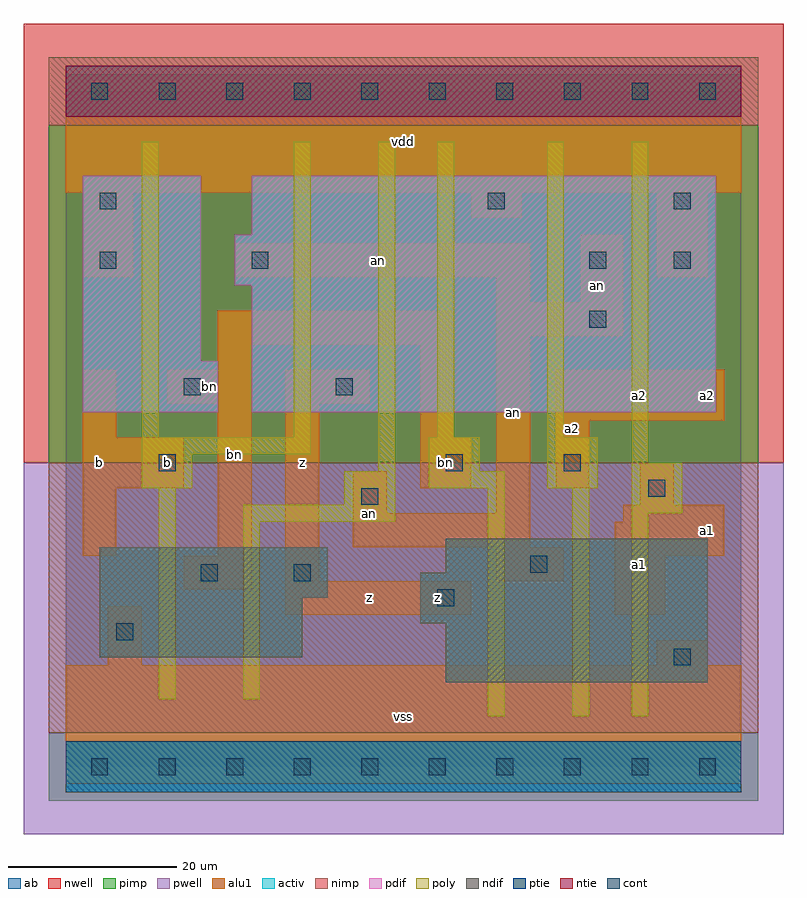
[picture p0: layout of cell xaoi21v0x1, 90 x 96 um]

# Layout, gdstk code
import gdstk
lib = gdstk.Library(unit=1e-6, precision=1e-09)
def R(c, l, rs):  # rectangles x0, y0, x1, y1
    for r in rs: c.add(gdstk.rectangle(r[:2], r[2:], *l))
def A(c, l, x, y, w, h, nx, ny, dx, dy):  # array of equal rectangles
    R(c, l, [(x+i*dx, y+j*dy, x+i*dx+w, y+j*dy+h) for i in range(nx) for j in range(ny)])
ndif = (3, 0)
pdif = (4, 0)
ntie = (5, 0)
ptie = (6, 0)
cont = (25, 0)
pwell = (41, 0)
nwell = (42, 0)
activ = (43, 0)
pimp = (44, 0)
nimp = (45, 0)
poly = (46, 0)
alu1 = (49, 0)
ab = (63, 0)

xaoi21v0x1 = lib.new_cell('xaoi21v0x1')
R(xaoi21v0x1, ndif, [(45,10,76,17), (4,13,28,20), (42,17,76,23), (4,20,31,26), (45,23,76,27)])
R(xaoi21v0x1, pdif, [(2,42,18,48), (22,42,77,57), (2,48,16,70), (20,57,77,63), (22,63,77,70)])
R(xaoi21v0x1, ntie, [(0,77,80,83)])
R(xaoi21v0x1, ptie, [(0,-3,80,3)])
A(xaoi21v0x1, cont, 3, -1, 2, 2, 10, 2, 8, 80)
R(xaoi21v0x1, cont, [(72,12,74,14), (6,15,8,17), (44,19,46,21), (16,22,18,24), (27,22,29,24), (55,23,57,25), (35,31,37,33), (69,32,71,34), (11,35,13,37), (45,35,47,37), (59,35,61,37), (14,44,16,46), (32,44,34,46), (62,52,64,54), (4,59,6,61), (22,59,24,61), (62,59,64,61), (72,59,74,61), (4,66,6,68), (50,66,52,68), (72,66,74,68)])
R(xaoi21v0x1, pwell, [(-5,-8,85,36)])
R(xaoi21v0x1, nwell, [(-5,36,85,88)])
R(xaoi21v0x1, activ, [(0,-3,80,3), (45,10,76,17), (4,13,28,20), (42,17,76,23), (4,20,31,26), (45,23,76,27), (2,42,18,48), (22,42,77,57), (2,48,16,70), (20,57,77,63), (22,63,77,70), (0,77,80,83)])
R(xaoi21v0x1, pimp, [(-2,-4,82,4), (-2,36,82,76)])
R(xaoi21v0x1, nimp, [(-2,4,82,36), (-2,76,82,84)])
R(xaoi21v0x1, poly, [(50,6,52,33), (60,6,62,33), (67,6,69,30), (11,8,13,33), (21,8,23,29), (21,29,39,31), (67,30,73,36), (33,31,39,35), (9,33,15,37), (43,33,52,35), (57,33,63,39), (37,35,39,74), (43,35,49,39), (67,36,69,74), (9,37,29,39), (9,39,11,74), (27,39,29,74), (44,39,46,74), (57,39,59,74)])
R(xaoi21v0x1, alu1, [(0,-2,80,12), (5,12,9,19), (70,12,76,15), (26,18,48,22), (65,18,71,25), (14,21,22,25), (26,22,30,43), (51,22,59,26), (2,25,6,33), (18,25,22,43), (65,25,78,29), (34,26,55,30), (66,29,78,31), (34,30,38,35), (51,30,55,51), (68,31,72,36), (2,33,14,39), (42,33,48,39), (58,33,62,41), (2,39,6,47), (42,39,46,50), (58,41,78,47), (12,43,22,47), (26,43,36,47), (18,47,22,50), (18,50,46,54), (51,51,66,55), (51,55,55,58), (61,55,66,63), (2,58,8,68), (20,58,55,62), (70,58,76,68), (48,65,54,68), (0,68,80,82)])
R(xaoi21v0x1, ab, [(0,0,80,80)])
xaoi21v0x1.add(gdstk.Label('an', (36,30), layer=49, texttype=0))
xaoi21v0x1.add(gdstk.Label('bn', (20,37), layer=49, texttype=0))
xaoi21v0x1.add(gdstk.Label('bn', (17,45), layer=49, texttype=0))
xaoi21v0x1.add(gdstk.Label('bn', (45,36), layer=49, texttype=0))
xaoi21v0x1.add(gdstk.Label('an', (37,60), layer=49, texttype=0))
xaoi21v0x1.add(gdstk.Label('an', (53,42), layer=49, texttype=0))
xaoi21v0x1.add(gdstk.Label('an', (63,57), layer=49, texttype=0))
xaoi21v0x1.add(gdstk.Label('b', (4,36), layer=49, texttype=0))
xaoi21v0x1.add(gdstk.Label('b', (12,36), layer=49, texttype=0))
xaoi21v0x1.add(gdstk.Label('z', (36,20), layer=49, texttype=0))
xaoi21v0x1.add(gdstk.Label('z', (28,36), layer=49, texttype=0))
xaoi21v0x1.add(gdstk.Label('vss', (40,6), layer=49, texttype=0))
xaoi21v0x1.add(gdstk.Label('z', (44,20), layer=49, texttype=0))
xaoi21v0x1.add(gdstk.Label('vdd', (40,74), layer=49, texttype=0))
xaoi21v0x1.add(gdstk.Label('a1', (76,28), layer=49, texttype=0))
xaoi21v0x1.add(gdstk.Label('a1', (68,24), layer=49, texttype=0))
xaoi21v0x1.add(gdstk.Label('a2', (68,44), layer=49, texttype=0))
xaoi21v0x1.add(gdstk.Label('a2', (76,44), layer=49, texttype=0))
xaoi21v0x1.add(gdstk.Label('a2', (60,40), layer=49, texttype=0))

lib.write_gds('xaoi21v0x1.gds')
